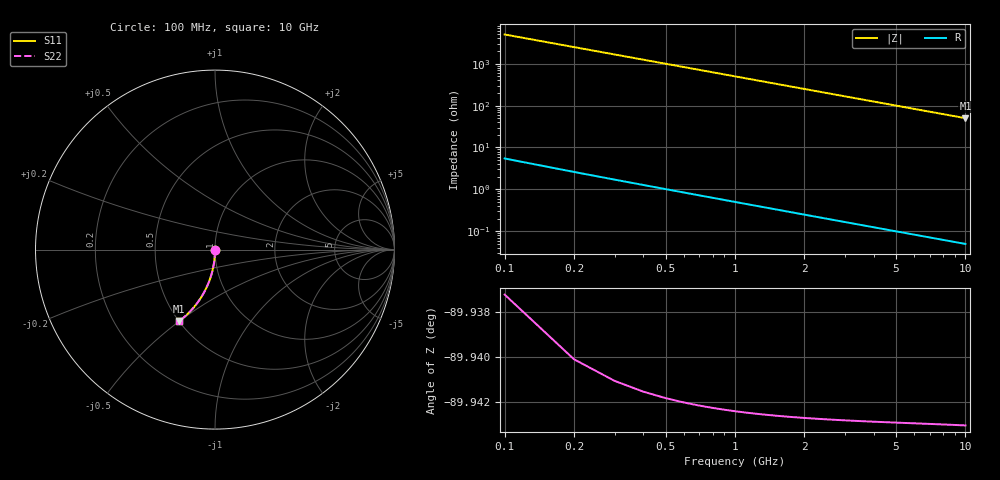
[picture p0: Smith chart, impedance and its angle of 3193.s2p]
# Hz S RI R 50.00
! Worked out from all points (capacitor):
!   100 points, 100 MHz to 10 GHz, reference 50 ohm
!   read as one part in shunt: C = 319 fF near 100 MHz
!   lowest |Z| = 50.1 ohm at 10 GHz (marker M1)
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1e8  -2.39e-05 -0.005  1 -0.00502  1 -0.00502  -2.39e-05 -0.005
2e8  -0.000104 -0.01  0.9999 -0.01  0.9999 -0.01  -0.000104 -0.01
3e8  -0.000235 -0.015  0.9998 -0.015  0.9998 -0.015  -0.000235 -0.015
4e8  -0.000415 -0.02  0.9996 -0.0201  0.9996 -0.0201  -0.000415 -0.02
5e8  -0.000646 -0.025  0.9993 -0.0251  0.9993 -0.0251  -0.000646 -0.025
6e8  -0.000926 -0.03  0.9991 -0.0301  0.9991 -0.0301  -0.000926 -0.03
7e8  -0.00126 -0.035  0.9987 -0.0351  0.9987 -0.0351  -0.00126 -0.035
8e8  -0.00164 -0.0399  0.9983 -0.0401  0.9983 -0.0401  -0.00164 -0.0399
9e8  -0.00207 -0.0449  0.9979 -0.0451  0.9979 -0.0451  -0.00207 -0.0449
1.1e9  -0.00307 -0.0548  0.9969 -0.055  0.9969 -0.055  -0.00307 -0.0548
1.4e9  -0.00496 -0.0697  0.995 -0.0699  0.995 -0.0699  -0.00496 -0.0697
1.8e9  -0.00814 -0.0893  0.9918 -0.0895  0.9918 -0.0895  -0.00814 -0.0893
2.1e9  -0.011 -0.1038  0.989 -0.1042  0.989 -0.1042  -0.011 -0.1038
2.5e9  -0.0155 -0.123  0.9844 -0.1234  0.9844 -0.1234  -0.0155 -0.123
2.9e9  -0.0208 -0.1419  0.9792 -0.1424  0.9792 -0.1424  -0.0208 -0.1419
3.4e9  -0.0283 -0.1651  0.9717 -0.1656  0.9717 -0.1656  -0.0283 -0.1651
4.2e9  -0.0425 -0.2008  0.9575 -0.2015  0.9575 -0.2015  -0.0425 -0.2008
5.1e9  -0.0613 -0.239  0.9387 -0.2398  0.9387 -0.2398  -0.0613 -0.239
5.9e9  -0.0803 -0.2707  0.9197 -0.2717  0.9197 -0.2717  -0.0803 -0.2707
6.7e9  -0.101 -0.3004  0.8989 -0.3014  0.8989 -0.3014  -0.101 -0.3004
8.4e9  -0.1498 -0.3557  0.8502 -0.3571  0.8502 -0.3571  -0.1498 -0.3557
1e10  -0.1995 -0.3983  0.8005 -0.3999  0.8005 -0.3999  -0.1995 -0.3983
